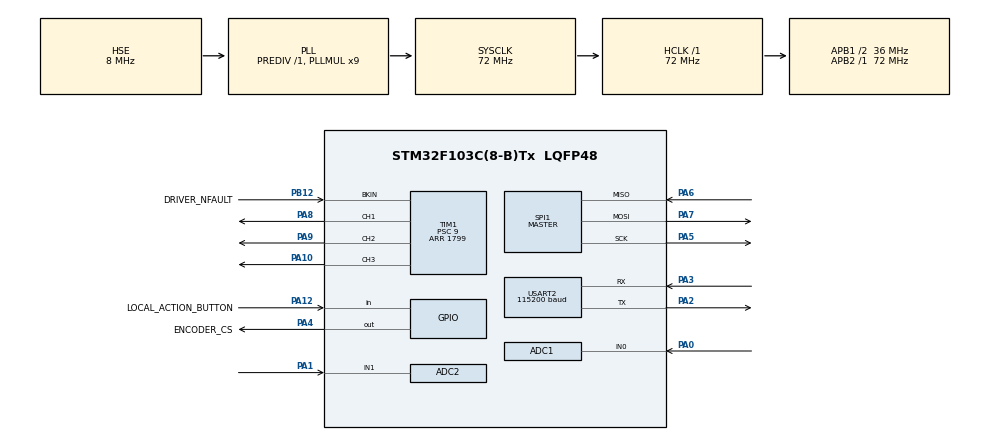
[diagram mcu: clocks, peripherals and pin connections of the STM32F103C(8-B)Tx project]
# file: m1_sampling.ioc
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ADC1.Channel-1\#ChannelInjectedConversion=ADC_CHANNEL_0
ADC1.ContinuousConvMode=DISABLE
ADC1.EnableInjectedConversion=ENABLE
ADC1.EnableRegularConversion=DISABLE
ADC1.ExternalTrigInjecConv=ADC_EXTERNALTRIGINJECCONV_T1_TRGO
ADC1.InjNumberOfConversion=1
ADC1.InjectedOffset-1\#ChannelInjectedConversion=0
ADC1.InjectedRank-1\#ChannelInjectedConversion=1
ADC1.Mode=ADC_DUALMODE_INJECSIMULT
ADC1.SamplingTime-1\#ChannelInjectedConversion=ADC_SAMPLETIME_7CYCLES_5
ADC1.master=1
ADC2.Channel-1\#ChannelInjectedConversion=ADC_CHANNEL_1
ADC2.ContinuousConvMode=DISABLE
ADC2.EnableInjectedConversion=ENABLE
ADC2.EnableRegularConversion=DISABLE
ADC2.ExternalTrigInjecConv=ADC_INJECTED_SOFTWARE_START
ADC2.InjNumberOfConversion=1
ADC2.InjectedOffset-1\#ChannelInjectedConversion=0
ADC2.InjectedRank-1\#ChannelInjectedConversion=1
ADC2.Mode=ADC_DUALMODE_INJECSIMULT
ADC2.SamplingTime-1\#ChannelInjectedConversion=ADC_SAMPLETIME_7CYCLES_5
Dma.Request0=SPI1_RX
Dma.Request1=SPI1_TX
Dma.SPI1_RX.0.Direction=DMA_PERIPH_TO_MEMORY
Dma.SPI1_RX.0.Instance=DMA1_Channel2
Dma.SPI1_RX.0.MemDataAlignment=DMA_MDATAALIGN_BYTE
Dma.SPI1_RX.0.MemInc=DMA_MINC_ENABLE
Dma.SPI1_RX.0.Mode=DMA_NORMAL
Dma.SPI1_RX.0.PeriphDataAlignment=DMA_PDATAALIGN_BYTE
Dma.SPI1_RX.0.PeriphInc=DMA_PINC_DISABLE
Dma.SPI1_RX.0.Priority=DMA_PRIORITY_LOW
Dma.SPI1_TX.1.Direction=DMA_MEMORY_TO_PERIPH
Dma.SPI1_TX.1.Instance=DMA1_Channel3
Dma.SPI1_TX.1.MemDataAlignment=DMA_MDATAALIGN_BYTE
Dma.SPI1_TX.1.MemInc=DMA_MINC_ENABLE
Dma.SPI1_TX.1.Mode=DMA_NORMAL
Dma.SPI1_TX.1.PeriphDataAlignment=DMA_PDATAALIGN_BYTE
Dma.SPI1_TX.1.PeriphInc=DMA_PINC_DISABLE
Dma.SPI1_TX.1.Priority=DMA_PRIORITY_LOW
Mcu.Family=STM32F1
Mcu.Name=STM32F103C(8-B)Tx
Mcu.Package=LQFP48
NVIC.ADC1_2_IRQn=true\:0\:0\:true\:false\:true\:true\:true\:true
NVIC.DMA1_Channel2_IRQn=true\:1\:0\:true\:false\:true\:true\:true\:true
NVIC.PriorityGroup=NVIC_PRIORITYGROUP_4
NVIC.TIM1_BRK_IRQn=true\:0\:0\:true\:false\:true\:true\:true\:true
NVIC.TIM1_CC_IRQn=true\:1\:0\:true\:false\:true\:true\:true\:true
NVIC.TIM1_UP_IRQn=true\:1\:0\:true\:false\:true\:true\:true\:true
NVIC.TIM2_IRQn=true\:2\:0\:true\:false\:true\:true\:true\:true
NVIC.TIM3_IRQn=true\:0\:0\:true\:false\:true\:true\:true\:true
NVIC.TIM4_IRQn=true\:0\:0\:true\:false\:true\:true\:true\:true
NVIC.USART2_IRQn=true\:3\:0\:true\:false\:true\:true\:true\:true
PA0-WKUP.Signal=ADCx_IN0
PA1.Signal=ADCx_IN1
PA10.Signal=S_TIM1_CH3
PA12.GPIO_PuPd=GPIO_PULLUP
PA12.GPIO_Label=LOCAL_ACTION_BUTTON
PA12.Signal=GPIO_Input
PA13.Mode=Serial_Wire
PA13.Signal=SYS_JTMS-SWDIO
PA14.Mode=Serial_Wire
PA14.Signal=SYS_JTCK-SWCLK
PA2.Mode=Asynchronous
PA2.Signal=USART2_TX
PA3.Mode=Asynchronous
PA3.Signal=USART2_RX
PA4.GPIO_Label=ENCODER_CS
PA4.GPIO_Speed=GPIO_SPEED_FREQ_HIGH
PA4.PinState=GPIO_PIN_SET
PA4.Signal=GPIO_Output
PA5.Mode=Full_Duplex_Master
PA5.Signal=SPI1_SCK
PA6.Mode=Full_Duplex_Master
PA6.Signal=SPI1_MISO
PA7.Mode=Full_Duplex_Master
PA7.Signal=SPI1_MOSI
PA8.Signal=S_TIM1_CH1
PA9.Signal=S_TIM1_CH2
PB12.GPIO_Label=DRIVER_NFAULT
PB12.GPIO_PuPd=GPIO_PULLUP
PB12.Signal=S_TIM1_BKIN
PD0-OSC_IN.Mode=HSE-External-Oscillator
PD0-OSC_IN.Signal=RCC_OSC_IN
PD1-OSC_OUT.Mode=HSE-External-Oscillator
PD1-OSC_OUT.Signal=RCC_OSC_OUT
ProjectManager.HeapSize=0x200
ProjectManager.StackSize=0x400
ProjectManager.TargetToolchain=MDK-ARM V5
RCC.ADCPresc=RCC_ADCPCLK2_DIV6
RCC.AHBFreq_Value=72000000
RCC.APB1CLKDivider=RCC_HCLK_DIV2
RCC.APB1Freq_Value=36000000
RCC.APB1TimFreq_Value=72000000
RCC.APB2Freq_Value=72000000
RCC.APB2TimFreq_Value=72000000
RCC.HCLKFreq_Value=72000000
RCC.PLLMUL=RCC_PLL_MUL9
RCC.PLLSourceVirtual=RCC_PLLSOURCE_HSE
RCC.SYSCLKFreq_VALUE=72000000
RCC.SYSCLKSource=RCC_SYSCLKSOURCE_PLLCLK
RCC.USBFreq_Value=72000000
SH.ADCx_IN0.0=ADC1_IN0,IN0
SH.ADCx_IN1.0=ADC2_IN1,IN1
SH.S_TIM1_BKIN.0=TIM1_BKIN,Activate-Break-Input
SH.S_TIM1_CH1.0=TIM1_CH1,PWM Generation1 CH1
SH.S_TIM1_CH2.0=TIM1_CH2,PWM Generation2 CH2
SH.S_TIM1_CH3.0=TIM1_CH3,PWM Generation3 CH3
SPI1.BaudRatePrescaler=SPI_BAUDRATEPRESCALER_64
SPI1.CLKPhase=SPI_PHASE_2EDGE
SPI1.Direction=SPI_DIRECTION_2LINES
SPI1.Mode=SPI_MODE_MASTER
SPI1.VirtualType=VM_MASTER
TIM1.AutoReloadPreload=TIM_AUTORELOAD_PRELOAD_ENABLE
TIM1.AutomaticOutput=TIM_AUTOMATICOUTPUT_DISABLE
TIM1.BreakPolarity=TIM_BREAKPOLARITY_LOW
TIM1.BreakState=TIM_BREAK_ENABLE
TIM1.Channel-Output\ Compare4\ No\ Output=TIM_CHANNEL_4
TIM1.Channel-PWM\ Generation1\ CH1=TIM_CHANNEL_1
TIM1.Channel-PWM\ Generation2\ CH2=TIM_CHANNEL_2
TIM1.Channel-PWM\ Generation3\ CH3=TIM_CHANNEL_3
TIM1.CounterMode=TIM_COUNTERMODE_CENTERALIGNED3
TIM1.LockLevel=TIM_LOCKLEVEL_OFF
TIM1.OffStateIDLEMode=TIM_OSSI_ENABLE
TIM1.OffStateRunMode=TIM_OSSR_ENABLE
TIM1.Period=1799
TIM1.Prescaler=9
TIM1.RepetitionCounter=3
TIM1.TIM_MasterOutputTrigger=TIM_TRGO_UPDATE
TIM2.Channel-Output\ Compare1\ No\ Output=TIM_CHANNEL_1
TIM2.Period=65535
TIM2.Prescaler=71
TIM2.Pulse-Output\ Compare1\ No\ Output=950
TIM3.Channel-Output\ Compare1\ No\ Output=TIM_CHANNEL_1
TIM3.Period=65535
TIM3.Prescaler=71
TIM4.Period=65535
TIM4.Prescaler=71
USART2.BaudRate=115200
USART2.UartMode=UART_MODE_TX_RX
USART2.VirtualMode=VM_ASYNC
VP_TIM1_VS_ClockSourceINT.Mode=Internal
VP_TIM1_VS_no_output4.Mode=Output Compare4 No Output
VP_TIM2_VS_ClockSourceINT.Mode=Internal
VP_TIM2_VS_ClockSourceITR.Mode=TriggerSource_ITR0
VP_TIM2_VS_ControllerModeReset.Mode=Reset Mode
VP_TIM2_VS_no_output1.Mode=Output Compare1 No Output
VP_TIM3_VS_ClockSourceINT.Mode=Internal
VP_TIM3_VS_no_output1.Mode=Output Compare1 No Output
VP_TIM4_VS_ClockSourceINT.Mode=Internal
board=custom

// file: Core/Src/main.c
/* USER CODE BEGIN Header */
/* Firmware version: 01-14-00 | 2026-11-01 14:00 Asia/Shanghai */
/**
  ******************************************************************************
  * @file           : main.c
  * @brief          : Main program body
  ******************************************************************************
  * @attention
  *
  * Copyright (c) 2026 STMicroelectronics.
  * All rights reserved.
  *
  * This software is licensed under terms that can be found in the LICENSE file
  * in the root directory of this software component.
  * If no LICENSE file comes with this software, it is provided AS-IS.
  *
  ******************************************************************************
  */
/* USER CODE END Header */
#include "main.h"
#include "adc.h"
#include "dma.h"
#include "spi.h"
#include "tim.h"
#include "usart.h"
#include "gpio.h"

/* USER CODE BEGIN Includes */
#include "board_io.h"
#include "motor_runtime.h"
#include "current_loop.h"
#include "board_config.h"
#include "telemetry.h"
#include "command.h"
  /* USER CODE END Includes */

void SystemClock_Config(void);

int main(void)
{

  /* MCU Configuration--------------------------------------------------------*/

  /* Reset of all peripherals, Initializes the Flash interface and the Systick. */
  HAL_Init();

  /* USER CODE BEGIN Init */
  /* 先建立 BOOT 并禁止调制，再运行生成的时钟/外设初始化。 */
  motor_runtime_init();
  command_init();
  /* USER CODE END Init */

  /* Configure the system clock */
  SystemClock_Config();

  /* Initialize all configured peripherals */
  MX_GPIO_Init();
  MX_DMA_Init();
  MX_ADC1_Init();
  MX_ADC2_Init();
  MX_SPI1_Init();
  MX_TIM1_Init();
  MX_TIM2_Init();
  MX_TIM3_Init();
  MX_TIM4_Init();
  MX_USART2_UART_Init();
  /* USER CODE BEGIN 2 */
  /* 生成 init 只配置设备；board 完成校准和事件起动，仍无 PWM 使能。 */
  bool ready = board_initialize_devices();
  motor_runtime_finish_boot(ready);
  if (!ready) { Error_Handler(); }
  if (!board_start_sampling()) {
    motor_runtime_latch_fault(MOTOR_FAULT_INITIALIZATION);
  }
  command_enable_version_report();
  command_enable_local_flow();
  /* USER CODE END 2 */

  /* Infinite loop */
  while (1)
  {

    /* USER CODE BEGIN 3 */
    uint32_t now_us = board_get_time_us();
    motor_runtime_check_deadline(now_us);
    motor_runtime_poll_button((GPIOA->IDR & GPIO_PIN_12)==0u, now_us);
#if BOARD_DQ_CURRENT_LOOP
    current_loop_poll(); /* 先处理1kHz电流包，再进行较低频反馈计算。 */
#endif
    motor_runtime_poll_feedback();
    if (!command_poll(now_us)) {
#if BOARD_DQ_CURRENT_LOOP
        if (!current_loop_report_poll())
#endif
        { telemetry_poll_status(HAL_GetTick()); }
    }
  }
  /* USER CODE END 3 */
}

void SystemClock_Config(void)
{
  RCC_OscInitTypeDef RCC_OscInitStruct = {0};
  RCC_ClkInitTypeDef RCC_ClkInitStruct = {0};
  RCC_PeriphCLKInitTypeDef PeriphClkInit = {0};

  /** Initializes the RCC Oscillators according to the specified parameters
  * in the RCC_OscInitTypeDef structure.
  */
  RCC_OscInitStruct.OscillatorType = RCC_OSCILLATORTYPE_HSE;
  RCC_OscInitStruct.HSEState = RCC_HSE_ON;
  RCC_OscInitStruct.HSEPredivValue = RCC_HSE_PREDIV_DIV1;
  RCC_OscInitStruct.HSIState = RCC_HSI_ON;
  RCC_OscInitStruct.PLL.PLLState = RCC_PLL_ON;
  RCC_OscInitStruct.PLL.PLLSource = RCC_PLLSOURCE_HSE;
  RCC_OscInitStruct.PLL.PLLMUL = RCC_PLL_MUL9;
  if (HAL_RCC_OscConfig(&RCC_OscInitStruct) != HAL_OK)
  {
    Error_Handler();
  }

  /** Initializes the CPU, AHB and APB buses clocks
  */
  RCC_ClkInitStruct.ClockType = RCC_CLOCKTYPE_HCLK|RCC_CLOCKTYPE_SYSCLK
                              |RCC_CLOCKTYPE_PCLK1|RCC_CLOCKTYPE_PCLK2;
  RCC_ClkInitStruct.SYSCLKSource = RCC_SYSCLKSOURCE_PLLCLK;
  RCC_ClkInitStruct.AHBCLKDivider = RCC_SYSCLK_DIV1;
  RCC_ClkInitStruct.APB1CLKDivider = RCC_HCLK_DIV2;
  RCC_ClkInitStruct.APB2CLKDivider = RCC_HCLK_DIV1;

  if (HAL_RCC_ClockConfig(&RCC_ClkInitStruct, FLASH_LATENCY_2) != HAL_OK)
  {
    Error_Handler();
  }
  PeriphClkInit.PeriphClockSelection = RCC_PERIPHCLK_ADC;
  PeriphClkInit.AdcClockSelection = RCC_ADCPCLK2_DIV6;
  if (HAL_RCCEx_PeriphCLKConfig(&PeriphClkInit) != HAL_OK)
  {
    Error_Handler();
  }
}

void Error_Handler(void)
{
  /* USER CODE BEGIN Error_Handler_Debug */
  /* 任一生成初始化失败都锁存故障，永久保持 PWM 禁止。 */
  motor_runtime_latch_fault(MOTOR_FAULT_INITIALIZATION);
  while (1) { board_disable_output(); }
  /* USER CODE END Error_Handler_Debug */
}
